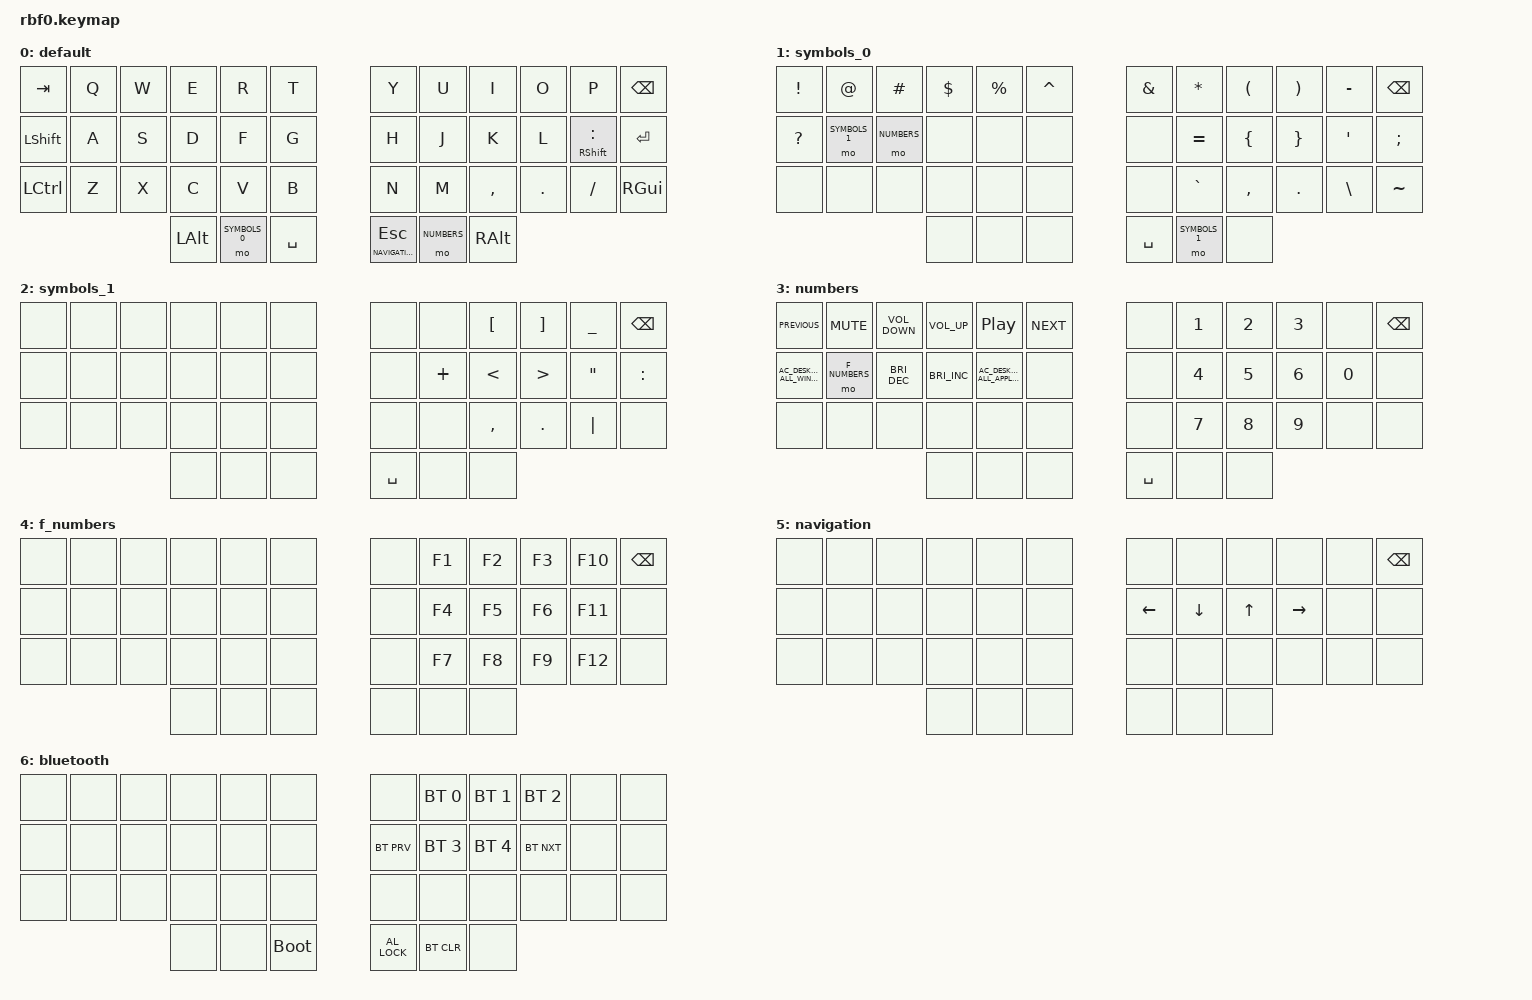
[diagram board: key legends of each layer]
#include <behaviors.dtsi>
#include <dt-bindings/zmk/keys.h>
#include <dt-bindings/zmk/bt.h>

#define DEFAULT    0
#define SYMBOLS_0  1
#define SYMBOLS_1  2
#define NUMBERS    3
#define F_NUMBERS  4
#define NAVIGATION 5
#define BLUETOOTH  6

#define _ &none

#define a &kp A
#define b &kp B
#define c &kp C
#define d &kp D
#define e &kp E
#define f &kp F
#define g &kp G
#define h &kp H
#define i &kp I
#define j &kp J
#define k &kp K
#define l &kp L
#define m &kp M
#define n &kp N
#define o &kp O
#define p &kp P
#define q &kp Q
#define q &kp Q
#define r &kp R
#define s &kp S
#define t &kp T
#define u &kp U
#define v &kp V
#define w &kp W
#define x &kp X
#define y &kp Y
#define z &kp Z

#define n0 &kp NUMBER_0
#define n1 &kp NUMBER_1
#define n2 &kp NUMBER_2
#define n3 &kp NUMBER_3
#define n4 &kp NUMBER_4
#define n5 &kp NUMBER_5
#define n6 &kp NUMBER_6
#define n7 &kp NUMBER_7
#define n8 &kp NUMBER_8
#define n9 &kp NUMBER_9

#define fn0  &kp F0
#define fn1  &kp F1
#define fn2  &kp F2
#define fn3  &kp F3
#define fn4  &kp F4
#define fn5  &kp F5
#define fn6  &kp F6
#define fn7  &kp F7
#define fn8  &kp F8
#define fn9  &kp F9
#define fn10 &kp F10
#define fn11 &kp F11
#define fn12 &kp F12

#define and     &kp AMPERSAND
#define at      &kp AT_SIGN
#define bang    &kp EXCLAMATION
#define bksp    &kp BACKSPACE
#define brgh_dw &kp C_BRIGHTNESS_DEC
#define brgh_up &kp C_BRIGHTNESS_INC
#define bslash  &kp BSLH
#define caret   &kp CARET
#define colon   &kp COLON
#define comma   &kp COMMA
#define copy    &kp K_COPY
#define cut     &kp K_CUT
#define d_qoute &kp DOUBLE_QUOTES
#define dollar  &kp DOLLAR
#define dot     &kp DOT
#define down    &kp DOWN
#define end     &kp END
#define enter   &kp ENTER
#define equal   &kp EQUAL
#define fslash  &kp FSLH
#define grave   &kp GRAVE
#define greater &kp GREATER_THAN
#define hash    &kp HASH
#define home    &kp HOME
#define lalt    &kp LEFT_ALT
#define lbrace  &kp LEFT_BRACE
#define lbrckt  &kp LEFT_BRACKET
#define lctrl   &kp LEFT_CONTROL
#define left    &kp LEFT
#define less    &kp LESS_THAN
#define lock    &kp C_AL_LOCK
#define lparen  &kp LEFT_PARENTHESIS
#define lshift  &kp LEFT_SHIFT
#define minus   &kp MINUS
#define mute    &kp C_MUTE
#define next    &kp C_NEXT
#define page_dw &kp PAGE_DOWN
#define page_up &kp PAGE_UP
#define paste   &kp K_PASTE
#define period  &kp PERIOD
#define pipe    &kp PIPE
#define play    &kp C_PLAY_PAUSE
#define plus    &kp PLUS
#define prct    &kp PERCENT
#define prev    &kp C_PREVIOUS
#define qmark   &kp QUESTION
#define ralt    &kp RIGHT_ALT
#define rbrace  &kp RIGHT_BRACE
#define rbrckt  &kp RIGHT_BRACKET
#define rctrl   &kp RIGHT_CONTROL
#define rgui    &kp RIGHT_GUI
#define right   &kp RIGHT
#define rparen  &kp RIGHT_PARENTHESIS
#define rshift  &kp RIGHT_SHIFT
#define s_qoute &kp SINGLE_QUOTE
#define semi    &kp SEMICOLON
#define space   &kp SPACE
#define star    &kp ASTERISK
#define tab     &kp TAB
#define tilde   &kp TILDE
#define toolbox &kp C_AC_DESKTOP_SHOW_ALL_APPLICATIONS
#define up      &kp UP
#define uscore  &kp UNDERSCORE
#define vol_dw  &kp C_VOLUME_DOWN
#define vol_up  &kp C_VOLUME_UP
#define window  &kp C_AC_DESKTOP_SHOW_ALL_WINDOWS

#define boot    &bootloader

#define bt0     &bt BT_SEL 0
#define bt1     &bt BT_SEL 1
#define bt2     &bt BT_SEL 2
#define bt3     &bt BT_SEL 3
#define bt4     &bt BT_SEL 4
#define bt_clr  &bt BT_CLR
#define bt_next &bt BT_NXT
#define bt_prev &bt BT_PRV

#define nav_esc &lt NAVIGATION ESCAPE
#define shf_col &mt RIGHT_SHIFT COLON

#define mo_fnum   &mo F_NUMBERS
#define mo_nav    &mo NAVIGATION
#define mo_num    &mo NUMBERS
#define mo_sym0   &mo SYMBOLS_0
#define mo_sym1   &mo SYMBOLS_1

&mt {
  tapping-term-ms = <250>;
};

&lt {
  tapping-term-ms = <150>;
};

/ {
  combos {
    compatible = "zmk,combos";
    bluetooth_layer {
      timeout-ms = <50>;
      key-positions = <0 36>;
      bindings = <&mo BLUETOOTH>;
    };
    left_gui {
      timeout-ms = <50>;
      key-positions = <24 37>;
      bindings = <&kp LEFT_GUI>;
    };
    caps_word {
      timeout-ms = <50>;
      key-positions = <12 22>;
      bindings = <&caps_word>;
    };
  };
  keymap {
    compatible = "zmk,keymap";
    default {
      bindings =
        <
          tab     q       w       e       r       t         y       u       i       o       p       bksp

          lshift  a       s       d       f       g         h       j       k       l       shf_col enter

          lctrl   z       x       c       v       b         n       m       comma   period  fslash  rgui

                                  lalt    mo_sym0 space     nav_esc mo_num  ralt
        >;
    };
    symbols_0 {
      bindings =
        <
          bang    at      hash    dollar  prct    caret     and     star    lparen   rparen minus   bksp

          qmark   mo_sym1 mo_num  _       _       _         _       equal   lbrace   rbrace s_qoute semi

          _       _       _       _       _       _         _       grave   comma    period  bslash  tilde

                                  _       _       _         space   mo_sym1   _
        >;
    };
    symbols_1 {
      bindings =
        <
          _       _       _       _       _       _         _       _       lbrckt  rbrckt  uscore  bksp 

          _       _       _       _       _       _         _       plus    less    greater d_qoute colon

          _       _       _       _       _       _         _       _       comma   period  pipe    _

                                  _       _       _         space   _       _
        >;
    };
    numbers {
      bindings =
        <
          prev    mute    vol_dw  vol_up  play    next      _       n1      n2      n3      _       bksp

          window mo_fnum brgh_dw brgh_up toolbox  _         _       n4      n5      n6      n0      _

          _       _       _       _       _       _         _       n7      n8      n9      _       _

                                  _       _       _         space   _       _
        >;
    };
    f_numbers {
      bindings =
        <
          _       _       _       _       _       _         _       fn1     fn2     fn3     fn10    bksp

          _       _       _       _       _       _         _       fn4     fn5     fn6     fn11    _

          _       _       _       _       _       _         _       fn7     fn8     fn9     fn12    _

                                  _       _       _         _       _       _
        >;
    };
    navigation {
      bindings =
        <
          _       _       _       _       _       _         _       _       _       _       _       bksp

          _       _       _       _       _       _         left   down     up      right   _       _

          _       _       _       _       _       _         _       _       _       _       _       _

                                  _       _       _         _       _       _
        >;
    };
    bluetooth {
      bindings =
        <
          _       _       _       _       _       _         _       bt0     bt1     bt2     _       _

          _       _       _       _       _       _         bt_prev bt3     bt4     bt_next _       _

          _       _       _       _       _       _         _       _       _       _       _       _

                                  _       _       boot     lock    bt_clr  _
        >;
    };
  };
};
